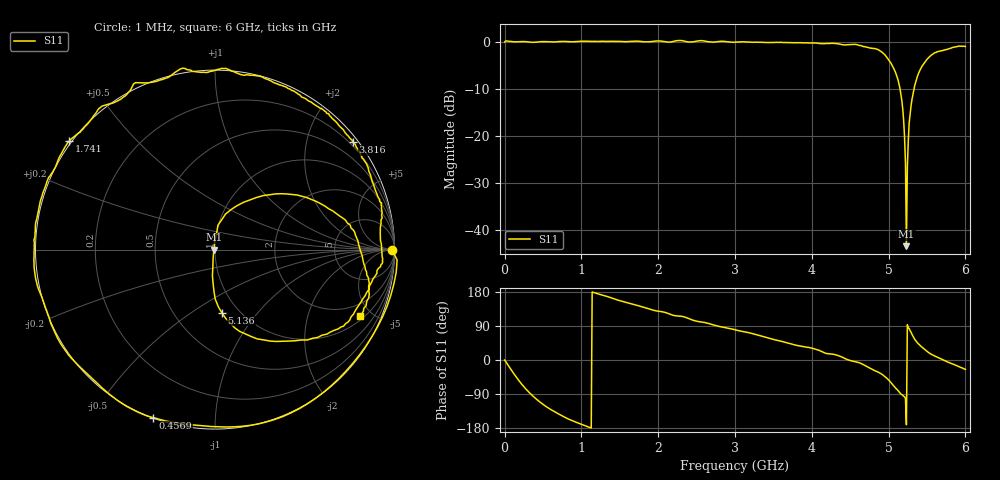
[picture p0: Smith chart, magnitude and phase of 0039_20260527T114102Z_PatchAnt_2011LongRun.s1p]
# Hz S RI R 50
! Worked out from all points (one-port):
!   501 points, 1 MHz to 6 GHz, reference 50 ohm
!   lowest |S11| = -43.5 dB at 5.232 GHz (marker M1), VSWR 1.01, Z = 49.3 - j0.104 ohm
!   |S11| at or under -10 dB: 5.149 GHz to 5.332 GHz (182.7 MHz wide, 3.49 % of centre)
!   S11 on the Smith chart (normalised r, x): 1 MHz: open; 456.9 MHz: 0.00, -0.70; 1.741 GHz: -0.01, +0.33; 3.816 GHz: 0.13, +2.90; 5.136 GHz: 0.83, -0.67; 6 GHz: 1.19, -4.24
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1000000  0.9887 -0.00309
8.4986e7  0.906 -0.4302
2.28962e8  0.4219 -0.9105
3.12948e8  0.1032 -0.9876
4.56924e8  -0.3458 -0.9361
7.56874e8  -0.8552 -0.5314
1.068822e9  -1.008 -0.0906
1.50075e9  -0.9269 0.402
1.74071e9  -0.8129 0.6045
2.256624e9  -0.454 0.9234
3.0005e9  0.1739 0.9742
3.756374e9  0.7349 0.6398
3.816364e9  0.7673 0.5996
4.308282e9  0.9276 0.229
4.50025e9  0.9304 -0.02
4.86019e9  0.7028 -0.4304
5.028162e9  0.3085 -0.5098
5.136144e9  0.0375 -0.351
5.184136e9  -0.0101 -0.1936
5.196134e9  -0.0144 -0.1452
5.208132e9  -0.012 -0.0954
5.232128e9  -0.00662 -0.00106
5.256124e9  0.00813 0.0869
5.268122e9  0.0166 0.1362
5.292118e9  0.0589 0.1983
5.412098e9  0.398 0.3103
5.628062e9  0.7717 0.1075
6e9  0.8079 -0.3719
